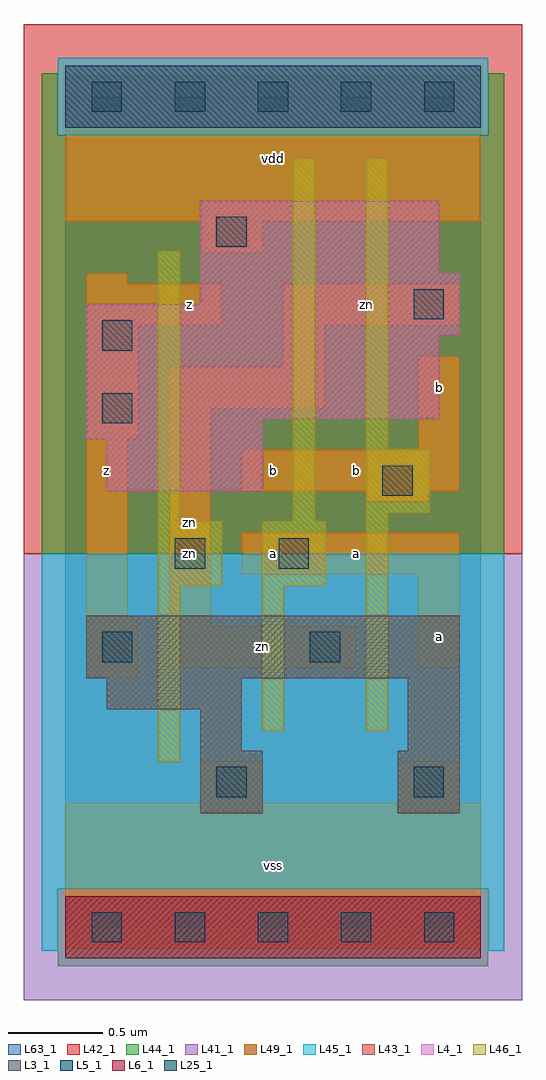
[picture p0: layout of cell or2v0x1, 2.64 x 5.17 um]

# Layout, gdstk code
import gdstk
lib = gdstk.Library(unit=1e-6, precision=1e-09)
def R(c, l, rs):  # rectangles x0, y0, x1, y1
    for r in rs: c.add(gdstk.rectangle(r[:2], r[2:], *l))
def A(c, l, x, y, w, h, nx, ny, dx, dy):  # array of equal rectangles
    R(c, l, [(x+i*dx, y+j*dy, x+i*dx+w, y+j*dy+h) for i in range(nx) for j in range(ny)])
L3_1 = (3, 1)
L4_1 = (4, 1)
L5_1 = (5, 1)
L6_1 = (6, 1)
L25_1 = (25, 1)
L41_1 = (41, 1)
L42_1 = (42, 1)
L43_1 = (43, 1)
L44_1 = (44, 1)
L45_1 = (45, 1)
L46_1 = (46, 1)
L49_1 = (49, 1)
L63_1 = (63, 1)

or2v0x1 = lib.new_cell('or2v0x1')
R(or2v0x1, L3_1, [(0.715,0.605,1.045,0.935), (1.76,0.605,2.09,0.935), (0.715,0.935,0.935,1.155), (1.815,0.935,2.09,1.32), (0.22,1.155,0.935,1.32), (0.11,1.32,2.09,1.65)])
R(or2v0x1, L4_1, [(0.22,2.31,1.045,2.585), (0.11,2.585,1.045,2.695), (0.11,2.695,1.98,3.135), (0.11,3.135,2.09,3.3), (0.715,3.3,2.09,3.465), (0.715,3.465,1.98,3.85)])
R(or2v0x1, L5_1, [(0,4.235,2.2,4.565)])
R(or2v0x1, L6_1, [(0,-0.165,2.2,0.165)])
A(or2v0x1, L25_1, 0.14, -0.08, 0.16, 0.16, 5, 2, 0.44, 4.4)
R(or2v0x1, L25_1, [(0.8,0.69,0.96,0.85), (1.845,0.69,2.005,0.85), (0.195,1.405,0.355,1.565), (1.295,1.405,1.455,1.565), (0.58,1.9,0.74,2.06), (1.13,1.9,1.29,2.06), (1.68,2.285,1.84,2.445), (0.195,2.67,0.355,2.83), (0.195,3.055,0.355,3.215), (1.845,3.22,2.005,3.38), (0.8,3.605,0.96,3.765)])
R(or2v0x1, L41_1, [(-0.22,-0.385,2.42,1.98)])
R(or2v0x1, L42_1, [(-0.22,1.98,2.42,4.785)])
R(or2v0x1, L43_1, [(0,-0.165,2.2,0.165), (0.715,0.605,1.045,0.935), (1.76,0.605,2.09,0.935), (0.715,0.935,0.935,1.155), (1.815,0.935,2.09,1.32), (0.22,1.155,0.935,1.32), (0.11,1.32,2.09,1.65), (0.22,2.31,1.045,2.585), (0.11,2.585,1.045,2.695), (0.11,2.695,1.98,3.135), (0.11,3.135,2.09,3.3), (0.715,3.3,2.09,3.465), (0.715,3.465,1.98,3.85), (0,4.235,2.2,4.565)])
R(or2v0x1, L44_1, [(-0.04,-0.205,2.24,0.205), (-0.125,1.98,2.325,4.195), (-0.125,4.195,-0.04,4.525), (2.24,4.195,2.325,4.525)])
R(or2v0x1, L45_1, [(-0.125,-0.125,-0.04,0.205), (2.24,-0.125,2.325,0.205), (-0.125,0.205,2.325,1.98), (-0.04,4.195,2.24,4.605)])
R(or2v0x1, L46_1, [(0.49,0.875,0.61,1.81), (1.04,1.04,1.16,1.81), (1.59,1.04,1.71,2.195), (0.49,1.81,0.83,2.15), (1.04,1.81,1.38,2.15), (0.49,2.15,0.61,3.58), (1.205,2.15,1.325,4.075), (1.59,2.195,1.93,2.535), (1.59,2.535,1.71,4.075)])
R(or2v0x1, L49_1, [(0,-0.11,2.2,0.66), (0.715,0.66,1.045,0.88), (1.76,0.66,2.09,0.88), (0.11,1.32,0.385,1.65), (0.55,1.375,1.54,1.595), (1.87,1.375,2.09,1.87), (0.55,1.595,0.77,2.75), (0.11,1.65,0.33,2.585), (0.935,1.87,2.09,2.09), (1.595,2.255,1.925,2.31), (0.935,2.31,2.09,2.53), (1.87,2.53,2.09,3.025), (0.11,2.585,0.385,3.19), (0.55,2.75,1.375,2.97), (1.155,2.97,1.375,3.19), (0.11,3.19,0.825,3.41), (1.155,3.19,2.09,3.41), (0.11,3.41,0.33,3.465), (0.715,3.575,1.045,3.74), (0,3.74,2.2,4.51)])
R(or2v0x1, L63_1, [(0,0,2.2,4.4)])
or2v0x1.add(gdstk.Label('zn', (0.66,1.98), layer=49, texttype=1))
or2v0x1.add(gdstk.Label('z', (0.22,2.42), layer=49, texttype=1))
or2v0x1.add(gdstk.Label('zn', (0.66,2.145), layer=49, texttype=1))
or2v0x1.add(gdstk.Label('z', (0.66,3.3), layer=49, texttype=1))
or2v0x1.add(gdstk.Label('vss', (1.1,0.33), layer=49, texttype=1))
or2v0x1.add(gdstk.Label('a', (1.1,1.98), layer=49, texttype=1))
or2v0x1.add(gdstk.Label('zn', (1.045,1.485), layer=49, texttype=1))
or2v0x1.add(gdstk.Label('a', (1.54,1.98), layer=49, texttype=1))
or2v0x1.add(gdstk.Label('b', (1.54,2.42), layer=49, texttype=1))
or2v0x1.add(gdstk.Label('b', (1.1,2.42), layer=49, texttype=1))
or2v0x1.add(gdstk.Label('vdd', (1.1,4.07), layer=49, texttype=1))
or2v0x1.add(gdstk.Label('a', (1.98,1.54), layer=49, texttype=1))
or2v0x1.add(gdstk.Label('b', (1.98,2.86), layer=49, texttype=1))
or2v0x1.add(gdstk.Label('zn', (1.595,3.3), layer=49, texttype=1))

lib.write_gds('or2v0x1.gds')
